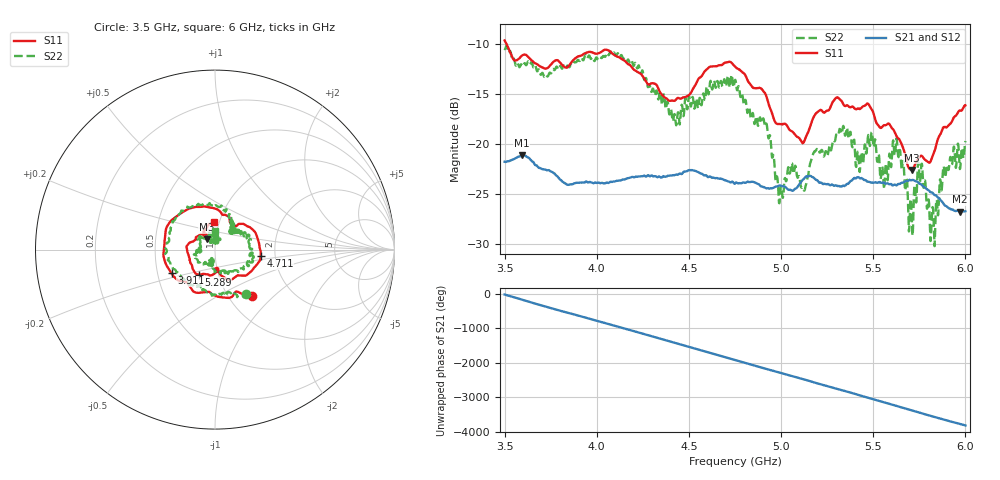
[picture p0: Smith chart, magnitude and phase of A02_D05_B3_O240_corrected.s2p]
! Created with skrf 1.9.0 (http://scikit-rf.org).
# Hz S RI R 50.0
!freq ReS11 ImS11 ReS21 ImS21 ReS12 ImS12 ReS22 ImS22
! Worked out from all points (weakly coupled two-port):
!   1601 points, 3.5 GHz to 6 GHz, reference 50 ohm
!   highest |S21| = -21.12 dB at 3.592 GHz (marker M1); lowest = -26.8 dB at 5.972 GHz (marker M2)
!   lowest |S11| = -22.6 dB at 5.709 GHz (marker M3), VSWR 1.16, Z = 45.2 + j5.22 ohm
!   |S11| at or under -10 dB: 3.511 GHz to end of sweep
!   |S22| runs from -30.2 to -10.2 dB; largest |S21 - S12| = 0.001
!   S11 on the Smith chart (normalised r, x): 3.5 GHz: 1.27, -0.74; 3.911 GHz: 0.59, -0.17; 4.711 GHz: 1.68, -0.13; 5.289 GHz: 0.80, -0.23; 6 GHz: 0.94, +0.30
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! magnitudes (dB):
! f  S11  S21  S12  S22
! 3.5 GHz  -9.6  -21.8  -21.8  -10.4
! 3.592 GHz  -11.2  -21.1  -21.1  -12.1
! 3.911 GHz  -11.2  -23.8  -23.8  -11.6
! 3.917 GHz  -11.1  -23.9  -23.8  -11.4
! 4.123 GHz  -11.3  -23.6  -23.6  -11.3
! 4.334 GHz  -14.4  -23.3  -23.2  -15.5
! 4.441 GHz  -15.4  -23.1  -23.0  -16.8
! 4.711 GHz  -11.8  -23.7  -23.7  -13.1
! 4.75 GHz  -12.2  -24.0  -23.9  -13.6
! 4.914 GHz  -14.9  -24.4  -24.4  -18.2
! 4.998 GHz  -18.0  -24.2  -24.2  -24.2
! 5.127 GHz  -19.7  -23.4  -23.4  -24.6
! 5.167 GHz  -17.7  -23.3  -23.2  -21.4
! 5.289 GHz  -15.6  -24.2  -24.2  -19.7
! 5.584 GHz  -18.0  -24.0  -24.0  -21.6
! 5.636 GHz  -19.4  -24.0  -24.0  -21.2
! 5.709 GHz  -22.6  -23.6  -23.6  -27.5
! 5.755 GHz  -21.2  -24.0  -23.9  -23.7
! 5.823 GHz  -21.1  -24.9  -24.9  -26.3
! 5.889 GHz  -18.3  -26.1  -26.1  -23.2
! 5.972 GHz  -16.6  -26.8  -26.7  -22.4
! 6 GHz  -16.1  -26.7  -26.7  -19.7
